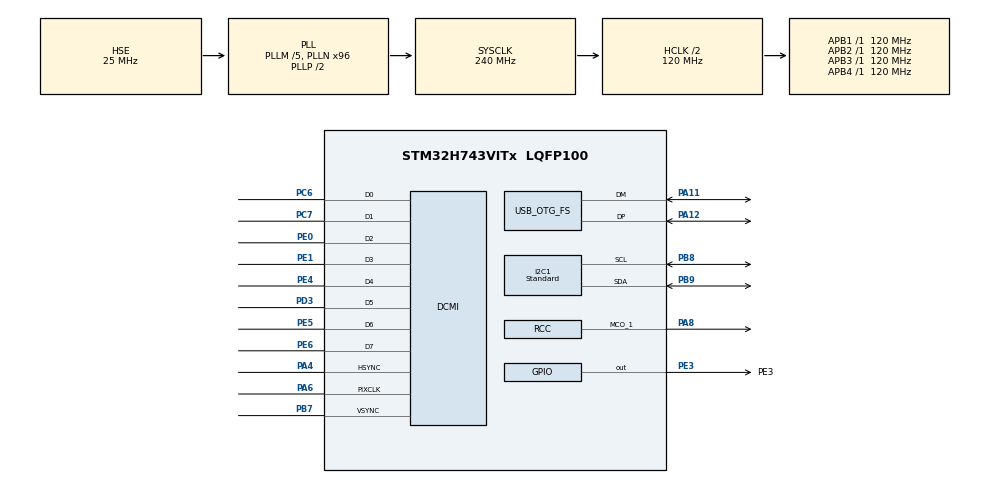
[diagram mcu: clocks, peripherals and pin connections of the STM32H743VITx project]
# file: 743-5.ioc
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DCMI.JPEGMode=DCMI_JPEG_DISABLE
DCMI.PCKPolarity=DCMI_PCKPOLARITY_RISING
DCMI.VSPolarity=DCMI_VSPOLARITY_LOW
Dma.DCMI.0.Direction=DMA_PERIPH_TO_MEMORY
Dma.DCMI.0.EventEnable=DISABLE
Dma.DCMI.0.FIFOMode=DMA_FIFOMODE_DISABLE
Dma.DCMI.0.Instance=DMA1_Stream0
Dma.DCMI.0.MemDataAlignment=DMA_MDATAALIGN_WORD
Dma.DCMI.0.MemInc=DMA_MINC_ENABLE
Dma.DCMI.0.Mode=DMA_CIRCULAR
Dma.DCMI.0.PeriphDataAlignment=DMA_PDATAALIGN_WORD
Dma.DCMI.0.PeriphInc=DMA_PINC_DISABLE
Dma.DCMI.0.Polarity=HAL_DMAMUX_REQ_GEN_RISING
Dma.DCMI.0.Priority=DMA_PRIORITY_MEDIUM
Dma.DCMI.0.RequestNumber=1
Dma.DCMI.0.SignalID=NONE
Dma.DCMI.0.SyncEnable=DISABLE
Dma.DCMI.0.SyncPolarity=HAL_DMAMUX_SYNC_NO_EVENT
Dma.DCMI.0.SyncRequestNumber=1
Dma.DCMI.0.SyncSignalID=NONE
Dma.Request0=DCMI
I2C1.I2C_Fall_Time=10
I2C1.I2C_Rise_Time=100
I2C1.I2C_Speed_Mode=I2C_Standard
I2C1.Timing=0x40805E8A
Mcu.Family=STM32H7
Mcu.Name=STM32H743VITx
Mcu.Package=LQFP100
NVIC.DCMI_IRQn=true\:0\:0\:false\:false\:true\:true\:true
NVIC.DMA1_Stream0_IRQn=true\:0\:0\:false\:false\:true\:false\:true
NVIC.OTG_FS_IRQn=true\:0\:0\:false\:false\:true\:true\:true
NVIC.PriorityGroup=NVIC_PRIORITYGROUP_4
PA11.Mode=Device_Only
PA11.Signal=USB_OTG_FS_DM
PA12.Mode=Device_Only
PA12.Signal=USB_OTG_FS_DP
PA13\ (JTMS/SWDIO).Mode=Serial_Wire
PA13\ (JTMS/SWDIO).Signal=DEBUG_JTMS-SWDIO
PA14\ (JTCK/SWCLK).Mode=Serial_Wire
PA14\ (JTCK/SWCLK).Signal=DEBUG_JTCK-SWCLK
PA4.Mode=Slave_8_bits_External_Synchro
PA4.Signal=DCMI_HSYNC
PA6.Mode=Slave_8_bits_External_Synchro
PA6.Signal=DCMI_PIXCLK
PA8.Mode=Clock-out-1
PA8.Signal=RCC_MCO_1
PB7.Mode=Slave_8_bits_External_Synchro
PB7.Signal=DCMI_VSYNC
PB8.GPIO_FM6=__NULL
PB8.GPIO_Pu=GPIO_PULLUP
PB8.Mode=I2C
PB8.Signal=I2C1_SCL
PB9.GPIO_Pu=GPIO_PULLUP
PB9.Mode=I2C
PB9.Signal=I2C1_SDA
PC6.Mode=Slave_8_bits_External_Synchro
PC6.Signal=DCMI_D0
PC7.Mode=Slave_8_bits_External_Synchro
PC7.Signal=DCMI_D1
PD3.Mode=Slave_8_bits_External_Synchro
PD3.Signal=DCMI_D5
PE0.Mode=Slave_8_bits_External_Synchro
PE0.Signal=DCMI_D2
PE1.Mode=Slave_8_bits_External_Synchro
PE1.Signal=DCMI_D3
PE3.GPIO_Label=PE3
PE3.Signal=GPIO_Output
PE4.Mode=Slave_8_bits_External_Synchro
PE4.Signal=DCMI_D4
PE5.Mode=Slave_8_bits_External_Synchro
PE5.Signal=DCMI_D6
PE6.Mode=Slave_8_bits_External_Synchro
PE6.Signal=DCMI_D7
PH0-OSC_IN\ (PH0).Mode=HSE-External-Oscillator
PH0-OSC_IN\ (PH0).Signal=RCC_OSC_IN
PH1-OSC_OUT\ (PH1).Mode=HSE-External-Oscillator
PH1-OSC_OUT\ (PH1).Signal=RCC_OSC_OUT
ProjectManager.HeapSize=0x200
ProjectManager.StackSize=0x800
ProjectManager.TargetToolchain=STM32CubeIDE
RCC.ADCFreq_Value=50390625
RCC.APB1Freq_Value=120000000
RCC.APB2Freq_Value=120000000
RCC.APB3Freq_Value=120000000
RCC.APB4Freq_Value=120000000
RCC.CortexFreq_Value=240000000
RCC.DIVM1=5
RCC.DIVM3=12
RCC.DIVN1=96
RCC.DIVN3=100
RCC.DIVQ1=10
RCC.HCLKFreq_Value=120000000
RCC.HPRE=RCC_HCLK_DIV2
RCC.HSE_VALUE=25000000
RCC.PLL2FRACN=0
RCC.PLL3FRACN=0
RCC.PLLFRACN=0
RCC.PLLSourceVirtual=RCC_PLLSOURCE_HSE
RCC.RCC_MCO1Source=RCC_MCO1SOURCE_HSI48
RCC.RCC_MCODiv1=RCC_MCODIV_2
RCC.SYSCLKFreq_VALUE=240000000
RCC.SYSCLKSource=RCC_SYSCLKSOURCE_PLLCLK
RCC.USBFreq_Value=48000000
USB_OTG_FS.Sof_enable=ENABLE
USB_OTG_FS.VirtualMode=Device_Only
board=custom

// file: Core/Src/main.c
/* USER CODE BEGIN Header */
/**
  ******************************************************************************
  * @file           : main.c
  * @brief          : Main program body
  ******************************************************************************
  * @attention
  *
  * <h2><center>&copy; Copyright (c) 2020 STMicroelectronics.
  * All rights reserved.</center></h2>
  *
  * This software component is licensed by ST under Ultimate Liberty license
  * SLA0044, the "License"; You may not use this file except in compliance with
  * the License. You may obtain a copy of the License at:
  *                             www.st.com/SLA0044
  *
  ******************************************************************************
  */
/* USER CODE END Header */
#include "main.h"
#include "dcmi.h"
#include "dma.h"
#include "i2c.h"
#include "usb_otg.h"
#include "gpio.h"

/* USER CODE BEGIN Includes */
#include "usb_device.h"  //usb_device.h
#include "usbd_camera.h"
/* USER CODE END Includes */

void SystemClock_Config(void);

/* USER CODE BEGIN 0 */
static void MPU_Config(void)
{
  MPU_Region_InitTypeDef MPU_InitStruct = {0};

  /* Disables the MPU */
  HAL_MPU_Disable();

	/* Configure the MPU attributes for the QSPI 256MB without instruction access */
  MPU_InitStruct.Enable           = MPU_REGION_ENABLE;
  MPU_InitStruct.Number           = MPU_REGION_NUMBER0;
  MPU_InitStruct.BaseAddress      = QSPI_BASE;
  MPU_InitStruct.Size             = MPU_REGION_SIZE_256MB;
  MPU_InitStruct.AccessPermission = MPU_REGION_NO_ACCESS;
  MPU_InitStruct.IsBufferable     = MPU_ACCESS_NOT_BUFFERABLE;
  MPU_InitStruct.IsCacheable      = MPU_ACCESS_NOT_CACHEABLE;
  MPU_InitStruct.IsShareable      = MPU_ACCESS_NOT_SHAREABLE;
  MPU_InitStruct.DisableExec      = MPU_INSTRUCTION_ACCESS_DISABLE;
  MPU_InitStruct.TypeExtField     = MPU_TEX_LEVEL1;
  MPU_InitStruct.SubRegionDisable = 0x00;
  HAL_MPU_ConfigRegion(&MPU_InitStruct);

  /* Configure the MPU attributes for the QSPI 8MB (QSPI Flash Size) to Cacheable WT */
  MPU_InitStruct.Enable           = MPU_REGION_ENABLE;
  MPU_InitStruct.Number           = MPU_REGION_NUMBER1;
  MPU_InitStruct.BaseAddress      = QSPI_BASE;
  MPU_InitStruct.Size             = MPU_REGION_SIZE_8MB;
  MPU_InitStruct.AccessPermission = MPU_REGION_PRIV_RO;
  MPU_InitStruct.IsBufferable     = MPU_ACCESS_BUFFERABLE;
  MPU_InitStruct.IsCacheable      = MPU_ACCESS_CACHEABLE;
  MPU_InitStruct.IsShareable      = MPU_ACCESS_NOT_SHAREABLE;
  MPU_InitStruct.DisableExec      = MPU_INSTRUCTION_ACCESS_ENABLE;
  MPU_InitStruct.TypeExtField     = MPU_TEX_LEVEL1;
  MPU_InitStruct.SubRegionDisable = 0x00;
  HAL_MPU_ConfigRegion(&MPU_InitStruct);

	/* Setup AXI SRAM in Cacheable WB */
  MPU_InitStruct.Enable           = MPU_REGION_ENABLE;
  MPU_InitStruct.BaseAddress      = D1_AXISRAM_BASE;
  MPU_InitStruct.Size             = MPU_REGION_SIZE_512KB;
  MPU_InitStruct.AccessPermission = MPU_REGION_FULL_ACCESS;
  MPU_InitStruct.IsBufferable     = MPU_ACCESS_BUFFERABLE;
  MPU_InitStruct.IsCacheable      = MPU_ACCESS_CACHEABLE;
  MPU_InitStruct.IsShareable      = MPU_ACCESS_SHAREABLE;
  MPU_InitStruct.Number           = MPU_REGION_NUMBER2;
  MPU_InitStruct.TypeExtField     = MPU_TEX_LEVEL1;
  MPU_InitStruct.SubRegionDisable = 0x00;
  MPU_InitStruct.DisableExec      = MPU_INSTRUCTION_ACCESS_ENABLE;
  HAL_MPU_ConfigRegion(&MPU_InitStruct);

  /* Enables the MPU */
  HAL_MPU_Enable(MPU_PRIVILEGED_DEFAULT);
}

static void CPU_CACHE_Enable(void)
{
  /* Enable I-Cache */
  SCB_EnableICache();

  /* Enable D-Cache */
  SCB_EnableDCache();
}

void LED_Blink(uint32_t delay)
{
	HAL_GPIO_WritePin(PE3_GPIO_Port,PE3_Pin,GPIO_PIN_SET);
	HAL_Delay(delay - 1);
	HAL_GPIO_WritePin(PE3_GPIO_Port,PE3_Pin,GPIO_PIN_RESET);
	HAL_Delay(500-1);
}

extern USBD_HandleTypeDef hUsbDeviceFS;
USBD_UVC_CameraTypeDef *camera;
/* USER CODE END 0 */

int main(void)
{
  /* USER CODE BEGIN 1 */
	#ifdef W25Qxx
  SCB->VTOR = QSPI_BASE;
	#endif
	MPU_Config();
  CPU_CACHE_Enable();

  /* USER CODE END 1 */

  /* MCU Configuration--------------------------------------------------------*/

  /* Reset of all peripherals, Initializes the Flash interface and the Systick. */
  HAL_Init();

  /* Configure the system clock */
  SystemClock_Config();

  /* Initialize all configured peripherals */
  MX_GPIO_Init();
  MX_DMA_Init();
  MX_DCMI_Init();
  MX_I2C1_Init();
  MX_USB_OTG_FS_PCD_Init();
  /* USER CODE BEGIN 2 */
  Camera_Init_Device(&hi2c1, FRAMESIZE_QQVGA);
  USB_DEVICE_Init();  //USB_DEVICE_Init
	camera = (USBD_UVC_CameraTypeDef*) hUsbDeviceFS.pUserData;
  /* USER CODE END 2 */

  /* Infinite loop */
  while (1)
  {

    /* USER CODE BEGIN 3 */
		LED_Blink(5);
		Camera_Loop();
  }
  /* USER CODE END 3 */
}

void SystemClock_Config(void)
{
  RCC_OscInitTypeDef RCC_OscInitStruct = {0};
  RCC_ClkInitTypeDef RCC_ClkInitStruct = {0};
  RCC_PeriphCLKInitTypeDef PeriphClkInitStruct = {0};

  /** Supply configuration update enable
  */
  HAL_PWREx_ConfigSupply(PWR_LDO_SUPPLY);
  /** Configure the main internal regulator output voltage
  */
  __HAL_PWR_VOLTAGESCALING_CONFIG(PWR_REGULATOR_VOLTAGE_SCALE2);

  while(!__HAL_PWR_GET_FLAG(PWR_FLAG_VOSRDY)) {}
  /** Initializes the RCC Oscillators according to the specified parameters
  * in the RCC_OscInitTypeDef structure.
  */
  RCC_OscInitStruct.OscillatorType = RCC_OSCILLATORTYPE_HSI48|RCC_OSCILLATORTYPE_HSE;
  RCC_OscInitStruct.HSEState = RCC_HSE_ON;
  RCC_OscInitStruct.HSI48State = RCC_HSI48_ON;
  RCC_OscInitStruct.PLL.PLLState = RCC_PLL_ON;
  RCC_OscInitStruct.PLL.PLLSource = RCC_PLLSOURCE_HSE;
  RCC_OscInitStruct.PLL.PLLM = 5;
  RCC_OscInitStruct.PLL.PLLN = 96;
  RCC_OscInitStruct.PLL.PLLP = 2;
  RCC_OscInitStruct.PLL.PLLQ = 10;
  RCC_OscInitStruct.PLL.PLLR = 2;
  RCC_OscInitStruct.PLL.PLLRGE = RCC_PLL1VCIRANGE_2;
  RCC_OscInitStruct.PLL.PLLVCOSEL = RCC_PLL1VCOWIDE;
  RCC_OscInitStruct.PLL.PLLFRACN = 0;
  if (HAL_RCC_OscConfig(&RCC_OscInitStruct) != HAL_OK)
  {
    Error_Handler();
  }
  /** Initializes the CPU, AHB and APB buses clocks
  */
  RCC_ClkInitStruct.ClockType = RCC_CLOCKTYPE_HCLK|RCC_CLOCKTYPE_SYSCLK
                              |RCC_CLOCKTYPE_PCLK1|RCC_CLOCKTYPE_PCLK2
                              |RCC_CLOCKTYPE_D3PCLK1|RCC_CLOCKTYPE_D1PCLK1;
  RCC_ClkInitStruct.SYSCLKSource = RCC_SYSCLKSOURCE_PLLCLK;
  RCC_ClkInitStruct.SYSCLKDivider = RCC_SYSCLK_DIV1;
  RCC_ClkInitStruct.AHBCLKDivider = RCC_HCLK_DIV2;
  RCC_ClkInitStruct.APB3CLKDivider = RCC_APB3_DIV1;
  RCC_ClkInitStruct.APB1CLKDivider = RCC_APB1_DIV1;
  RCC_ClkInitStruct.APB2CLKDivider = RCC_APB2_DIV1;
  RCC_ClkInitStruct.APB4CLKDivider = RCC_APB4_DIV1;

  if (HAL_RCC_ClockConfig(&RCC_ClkInitStruct, FLASH_LATENCY_1) != HAL_OK)
  {
    Error_Handler();
  }
  PeriphClkInitStruct.PeriphClockSelection = RCC_PERIPHCLK_I2C1|RCC_PERIPHCLK_USB;
  PeriphClkInitStruct.I2c123ClockSelection = RCC_I2C123CLKSOURCE_D2PCLK1;
  PeriphClkInitStruct.UsbClockSelection = RCC_USBCLKSOURCE_PLL;
  if (HAL_RCCEx_PeriphCLKConfig(&PeriphClkInitStruct) != HAL_OK)
  {
    Error_Handler();
  }
  HAL_RCC_MCOConfig(RCC_MCO1, RCC_MCO1SOURCE_HSI48, RCC_MCODIV_2);
  /** Enable USB Voltage detector
  */
  HAL_PWREx_EnableUSBVoltageDetector();
}

void Error_Handler(void)
{
  /* USER CODE BEGIN Error_Handler_Debug */
  /* User can add his own implementation to report the HAL error return state */
	while(1)
		LED_Blink(500);
  /* USER CODE END Error_Handler_Debug */
}

/************************ (C) COPYRIGHT STMicroelectronics *****END OF FILE****/
